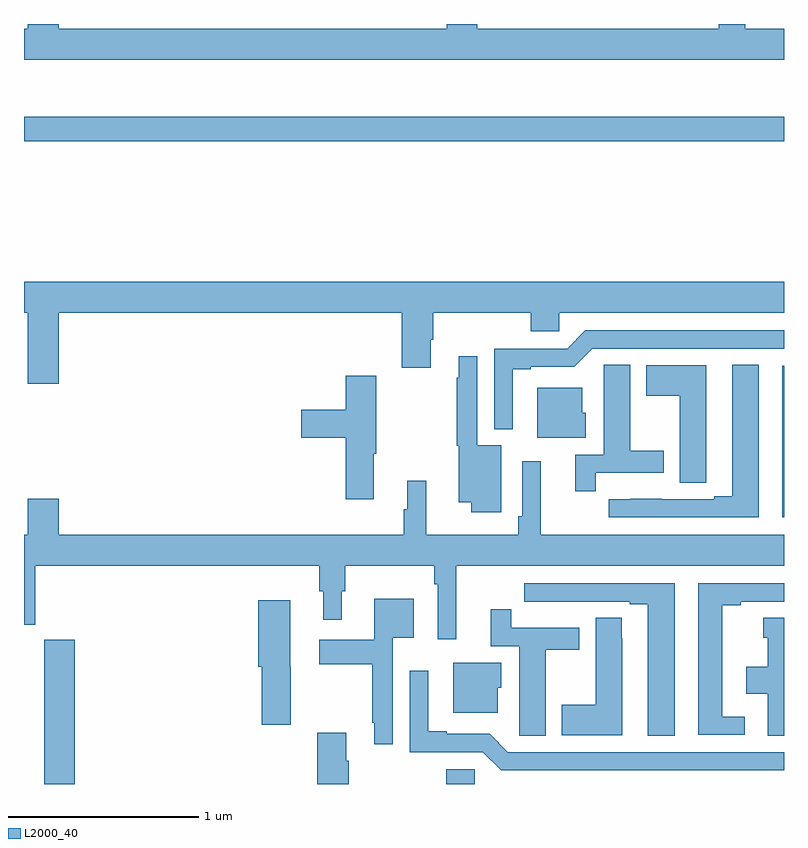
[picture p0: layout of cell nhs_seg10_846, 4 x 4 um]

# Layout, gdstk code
import gdstk
lib = gdstk.Library(unit=1e-6, precision=1e-09)
def R(c, l, rs):  # rectangles x0, y0, x1, y1
    for r in rs: c.add(gdstk.rectangle(r[:2], r[2:], *l))
def P(c, l, *ps):  # polygons
    for p in ps: c.add(gdstk.Polygon(p, *l))
L2000_40 = (2000, 40)

nhs_seg10_846 = lib.new_cell('nhs_seg10_846')
R(nhs_seg10_846, L2000_40, [(153.106,1300.5,153.266,1301.26), (155.222,1300.5,155.373,1300.578), (156.992,1301.904,157,1302.702), (153,1303.882,157,1304.011)])
P(nhs_seg10_846, L2000_40, [(157,1304.476),(156.795,1304.476),(156.795,1304.5),(156.657,1304.5),(156.657,1304.476),(155.385,1304.476),(155.385,1304.5),(155.225,1304.5),(155.225,1304.476),(153.184,1304.476),(153.184,1304.5),(153.02,1304.5),(153.02,1304.476),(153,1304.476),(153,1304.312),(157,1304.312)],
  [(153.184,1302.98),(154.988,1302.98),(154.988,1302.69),(155.14,1302.69),(155.14,1302.838),(155.153,1302.838),(155.153,1302.98),(155.666,1302.98),(155.666,1302.882),(155.817,1302.882),(155.817,1302.98),(157,1302.98),(157,1303.144),(153,1303.144),(153,1302.98),(153.02,1302.98),(153.02,1302.606),(153.184,1302.606)],
  [(155.572,1302.684),(155.668,1302.684),(155.668,1302.696),(155.895,1302.696),(155.991,1302.792),(157,1302.792),(157,1302.888),(155.955,1302.888),(155.859,1302.792),(155.475,1302.792),(155.475,1302.368),(155.572,1302.368)],
  [(155.512,1302.283),(155.385,1302.283),(155.385,1302.751),(155.288,1302.751),(155.288,1302.638),(155.277,1302.638),(155.277,1302.279),(155.288,1302.279),(155.288,1301.984),(155.354,1301.984),(155.354,1301.931),(155.512,1301.931)],
  [(156.008,1302.138),(156.367,1302.138),(156.367,1302.255),(156.19,1302.255),(156.19,1302.707),(156.051,1302.707),(156.051,1302.596),(156.05,1302.596),(156.05,1302.234),(155.9,1302.234),(155.9,1302.042),(156.008,1302.042)],
  [(156.868,1302.707),(156.728,1302.707),(156.728,1302.015),(156.632,1302.015),(156.632,1302),(156.356,1302),(156.356,1302.001),(156.19,1302.001),(156.19,1302),(156.078,1302),(156.078,1301.904),(156.868,1301.904)],
  [(156.591,1302.193),(156.592,1302.193),(156.592,1302.703),(156.275,1302.703),(156.275,1302.544),(156.452,1302.544),(156.452,1302.085),(156.591,1302.085)],
  [(154.84,1302.239),(154.854,1302.239),(154.854,1302.649),(154.694,1302.649),(154.694,1302.47),(154.458,1302.47),(154.458,1302.323),(154.694,1302.323),(154.694,1302),(154.84,1302)],
  [(155.956,1302.453),(155.938,1302.453),(155.938,1302.586),(155.702,1302.586),(155.702,1302.323),(155.956,1302.323)],
  [(157,1301.812),(155.72,1301.812),(155.72,1302.199),(155.622,1302.199),(155.622,1301.908),(155.602,1301.908),(155.602,1301.812),(155.118,1301.812),(155.118,1302.097),(155.018,1302.097),(155.018,1301.946),(154.999,1301.946),(154.999,1301.812),(153.184,1301.812),(153.184,1302.001),(153.02,1302.001),(153.02,1301.812),(153,1301.812),(153,1301.339),(153.058,1301.339),(153.058,1301.648),(154.555,1301.648),(154.555,1301.514),(154.574,1301.514),(154.574,1301.364),(154.672,1301.364),(154.672,1301.514),(154.691,1301.514),(154.691,1301.648),(155.158,1301.648),(155.158,1301.552),(155.178,1301.552),(155.178,1301.262),(155.276,1301.262),(155.276,1301.648),(157,1301.648)],
  [(156.793,1300.854),(156.676,1300.854),(156.676,1301.44),(156.772,1301.44),(156.772,1301.46),(157,1301.46),(157,1301.556),(156.548,1301.556),(156.548,1300.758),(156.793,1300.758)],
  [(156.424,1301.556),(155.634,1301.556),(155.634,1301.46),(155.746,1301.46),(155.746,1301.459),(155.912,1301.459),(155.912,1301.46),(156.188,1301.46),(156.188,1301.445),(156.284,1301.445),(156.284,1300.753),(156.424,1300.753)],
  [(154.941,1301.27),(155.05,1301.27),(155.05,1301.476),(154.844,1301.476),(154.844,1301.26),(154.554,1301.26),(154.554,1301.131),(154.833,1301.131),(154.833,1300.822),(154.844,1300.822),(154.844,1300.71),(154.941,1300.71)],
  [(154.404,1301.118),(154.402,1301.118),(154.402,1301.467),(154.232,1301.467),(154.232,1301.118),(154.25,1301.118),(154.25,1300.812),(154.404,1300.812)],
  [(155.746,1301.206),(155.923,1301.206),(155.923,1301.322),(155.564,1301.322),(155.564,1301.419),(155.456,1301.419),(155.456,1301.226),(155.606,1301.226),(155.606,1300.864),(155.607,1300.864),(155.607,1300.753),(155.746,1300.753)],
  [(156.148,1301.267),(156.147,1301.267),(156.147,1301.375),(156.008,1301.375),(156.008,1300.917),(155.831,1300.917),(155.831,1300.757),(156.148,1300.757)],
  [(157,1301.374),(156.89,1301.374),(156.89,1301.271),(156.914,1301.271),(156.914,1301.116),(156.8,1301.116),(156.8,1300.976),(156.914,1300.976),(156.914,1300.753),(157,1300.753)],
  [(155.494,1301.007),(155.512,1301.007),(155.512,1301.137),(155.258,1301.137),(155.258,1300.874),(155.494,1300.874)],
  [(157,1300.668),(155.547,1300.668),(155.451,1300.764),(155.224,1300.764),(155.224,1300.777),(155.128,1300.777),(155.128,1301.095),(155.031,1301.095),(155.031,1300.668),(155.415,1300.668),(155.511,1300.572),(157,1300.572)],
  [(154.544,1300.771),(154.544,1300.5),(154.709,1300.5),(154.709,1300.622),(154.696,1300.622),(154.696,1300.771)])

lib.write_gds('nhs_seg10_846.gds')
